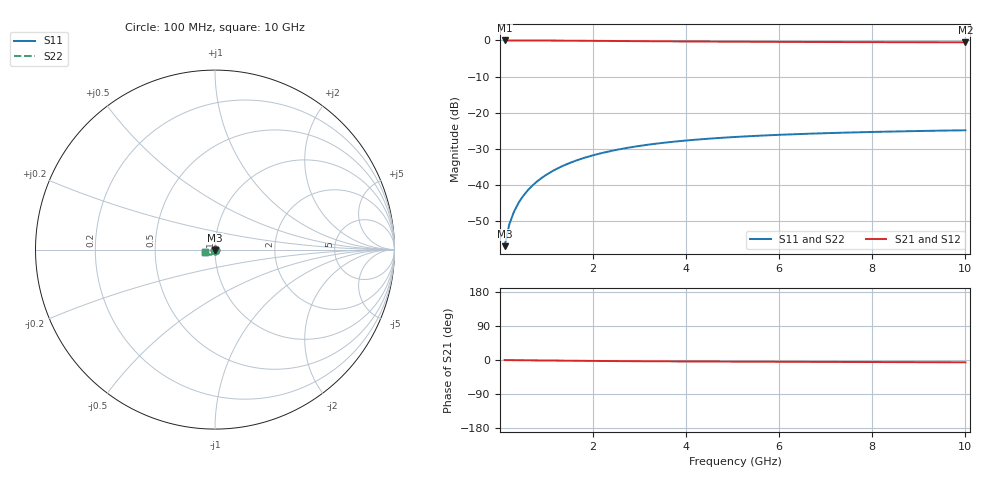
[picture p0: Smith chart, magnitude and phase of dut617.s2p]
! Touchstone file exported from HFSS 2024.1.0
!  File:  C:/UserFiles/LocalFiles/RDL_TSV_Batchsim/temp_TSV1_617_1779788780.aedt
!  Generated:  05:52:29 PM May 26, 2026
!  Design:  TSV1
!  Project:  temp_TSV1_617_1779788780
!  Setup:  Setup1
!  Solution:  Sweep
! Variables:
!  dtsv = 9.3um
!  hbump = 3um
!  htsv = 98um
!  lrdl = 252.1521522um
!  p = 40
!  p1 = 40.61um
!  t = 500um
!  trdl = 3um
!  wrdl = 24.89489489um
# GHz S MA R 50.000000
! Terminal data exported
! Port[1] = TSV22_T1
! Port[2] = TSV22_T2
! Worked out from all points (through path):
!   100 points, 100 MHz to 10 GHz, reference 50 ohm
!   highest |S21| = 0.00 dB at 100 MHz (marker M1); lowest = -0.5 dB at 10 GHz (marker M2)
!   lowest |S11| = -56.8 dB at 100 MHz (marker M3), VSWR 1.00, Z = 50 - j0.143 ohm
!   |S11| at or under -10 dB: start of sweep to end of sweep
!   |S22| runs from -56.8 to -24.8 dB; largest |S21 - S12| = 4.5e-15
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0.1  0.001438 -83.7  0.9998 -0.1  0.9998 -0.1  0.001438 -83.7
! Gamma 0 0 0 0
! Port Impedance 50 0 50 0
0.2  0.00286 -88.9  0.9996 -0.3  0.9996 -0.3  0.00286 -88.9
0.3  0.004287 -91.6  0.9994 -0.4  0.9994 -0.4  0.004287 -91.6
0.4  0.005713 -93.7  0.9991 -0.5  0.9991 -0.5  0.005713 -93.7
0.5  0.00713 -95.6  0.9988 -0.7  0.9988 -0.7  0.00713 -95.6
0.6  0.008537 -97.4  0.9984 -0.8  0.9984 -0.8  0.008537 -97.4
0.7  0.009928 -99.0  0.9979 -0.9  0.9979 -0.9  0.009928 -99.0
0.8  0.0113 -100.7  0.9974 -1.1  0.9974 -1.1  0.0113 -100.7
0.9  0.01266 -102.2  0.9968 -1.2  0.9968 -1.2  0.01266 -102.2
1.1  0.0153 -105.3  0.9954 -1.4  0.9954 -1.4  0.0153 -105.3
1.4  0.01909 -109.6  0.9931 -1.8  0.9931 -1.8  0.01909 -109.6
1.6  0.02147 -112.4  0.9914 -2.0  0.9914 -2.0  0.02147 -112.4
1.8  0.02374 -115.0  0.9895 -2.2  0.9895 -2.2  0.02374 -115.0
2.1  0.02692 -118.8  0.9866 -2.5  0.9866 -2.5  0.02692 -118.8
2.5  0.03076 -123.5  0.9827 -2.8  0.9827 -2.8  0.03076 -123.5
2.9  0.03414 -127.8  0.9788 -3.1  0.9788 -3.1  0.03414 -127.8
3.4  0.03779 -132.7  0.9742 -3.4  0.9742 -3.4  0.03779 -132.7
4.2  0.04252 -139.5  0.9675 -3.9  0.9675 -3.9  0.04252 -139.5
5.1  0.04658 -145.9  0.9613 -4.3  0.9613 -4.3  0.04658 -145.9
6.7  0.05161 -155.0  0.9529 -4.9  0.9529 -4.9  0.05161 -155.0
8.4  0.05512 -162.6  0.9467 -5.5  0.9467 -5.5  0.05512 -162.6
10  0.05744 -168.4  0.9426 -6.1  0.9426 -6.1  0.05744 -168.4
